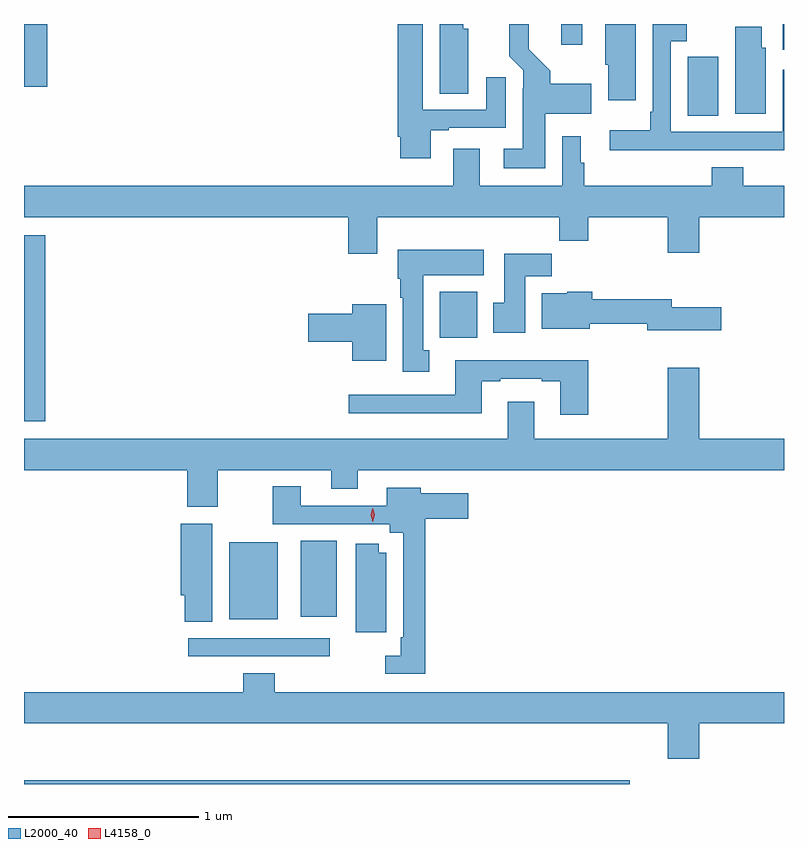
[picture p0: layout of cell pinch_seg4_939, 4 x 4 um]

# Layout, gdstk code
import gdstk
lib = gdstk.Library(unit=1e-6, precision=1e-09)
def R(c, l, rs):  # rectangles x0, y0, x1, y1
    for r in rs: c.add(gdstk.rectangle(r[:2], r[2:], *l))
def P(c, l, *ps):  # polygons
    for p in ps: c.add(gdstk.Polygon(p, *l))
L2000_40 = (2000, 40)
L4158_0 = (4158, 0)

pinch_seg4_939 = lib.new_cell('pinch_seg4_939')
R(pinch_seg4_939, L2000_40, [(737.043,787.176,740.23,787.195), (737.907,787.848,738.652,787.944), (738.122,788.042,738.379,788.449), (738.5,788.057,738.688,788.455), (737.043,789.086,737.156,790.065), (739.232,789.524,739.429,789.766), (740.537,790.693,740.698,791.004), (737.043,790.847,737.165,791.176), (741.036,791.04,741.043,791.176), (739.871,791.067,739.981,791.176)])
P(pinch_seg4_939, L2000_40, [(739.786,790.703),(740.029,790.703),(740.029,790.861),(739.812,790.861),(739.812,790.931),(739.699,791.044),(739.699,791.176),(739.597,791.176),(739.597,791.006),(739.671,790.932),(739.671,790.838),(739.667,790.838),(739.667,790.519),(739.569,790.519),(739.569,790.418),(739.786,790.418)],
  [(740.263,791.176),(740.102,791.176),(740.102,790.962),(740.117,790.962),(740.117,790.776),(740.263,790.776)],
  [(739.381,791.151),(739.354,791.151),(739.354,791.176),(739.232,791.176),(739.232,790.81),(739.381,790.81)],
  [(740.545,790.512),(740.911,790.512),(740.911,790.511),(741.043,790.511),(741.043,790.936),(741.036,790.936),(741.036,790.608),(740.448,790.608),(740.448,791.085),(740.53,791.085),(740.53,791.176),(740.352,791.176),(740.352,790.714),(740.34,790.714),(740.34,790.618),(740.127,790.618),(740.127,790.511),(740.545,790.511)],
  [(739.183,790.617),(739.279,790.617),(739.279,790.629),(739.579,790.629),(739.579,790.897),(739.475,790.897),(739.475,790.725),(739.141,790.725),(739.141,791.176),(739.01,791.176),(739.01,790.582),(739.022,790.582),(739.022,790.47),(739.183,790.47)],
  [(740.947,791.052),(740.926,791.052),(740.926,791.161),(740.786,791.161),(740.786,790.704),(740.947,790.704)],
  [(738.901,790.16),(739.861,790.16),(739.861,790.036),(740.013,790.036),(740.013,790.16),(740.432,790.16),(740.432,789.972),(740.596,789.972),(740.596,790.16),(741.043,790.16),(741.043,790.324),(740.828,790.324),(740.828,790.423),(740.663,790.423),(740.663,790.324),(739.991,790.324),(739.991,790.446),(739.972,790.446),(739.972,790.585),(739.875,790.585),(739.875,790.324),(739.441,790.324),(739.441,790.519),(739.301,790.519),(739.301,790.324),(737.043,790.324),(737.043,790.16),(738.749,790.16),(738.749,789.966),(738.901,789.966)],
  [(739.177,789.458),(739.144,789.458),(739.144,789.854),(739.462,789.854),(739.462,789.988),(739.01,789.988),(739.01,789.834),(739.022,789.834),(739.022,789.734),(739.037,789.734),(739.037,789.345),(739.177,789.345)],
  [(739.681,789.848),(739.82,789.848),(739.82,789.967),(739.571,789.967),(739.571,789.708),(739.514,789.708),(739.514,789.552),(739.681,789.552)],
  [(740.713,789.685),(740.452,789.685),(740.452,789.727),(740.033,789.727),(740.033,789.766),(739.902,789.766),(739.902,789.76),(739.769,789.76),(739.769,789.572),(740.02,789.572),(740.02,789.598),(740.324,789.598),(740.324,789.563),(740.713,789.563)],
  [(738.949,789.7),(738.77,789.7),(738.77,789.65),(738.54,789.65),(738.54,789.503),(738.77,789.503),(738.77,789.404),(738.949,789.404)],
  [(740.013,789.406),(739.313,789.406),(739.313,789.225),(738.753,789.225),(738.753,789.128),(739.453,789.128),(739.453,789.297),(739.549,789.297),(739.549,789.309),(739.769,789.309),(739.769,789.297),(739.865,789.297),(739.865,789.12),(740.013,789.12)],
  [(738.063,788.828),(738.659,788.828),(738.659,788.729),(738.799,788.729),(738.799,788.828),(741.043,788.828),(741.043,788.992),(740.596,788.992),(740.596,789.367),(740.432,789.367),(740.432,788.992),(739.729,788.992),(739.729,789.187),(739.589,789.187),(739.589,788.992),(737.043,788.992),(737.043,788.828),(737.903,788.828),(737.903,788.634),(738.063,788.634)],
  [(739.154,788.573),(739.381,788.573),(739.381,788.707),(739.131,788.707),(739.131,788.734),(738.953,788.734),(738.953,788.64),(738.499,788.64),(738.499,788.743),(738.352,788.743),(738.352,788.544),(738.968,788.544),(738.968,788.498),(739.038,788.498),(739.038,787.948),(739.026,787.948),(739.026,787.851),(738.945,787.851),(738.945,787.755),(739.154,787.755)],
  [(738.034,788.545),(737.867,788.545),(737.867,788.169),(737.888,788.169),(737.888,788.029),(738.034,788.029)],
  [(738.949,788.392),(738.91,788.392),(738.91,788.441),(738.788,788.441),(738.788,787.974),(738.949,787.974)],
  [(740.596,787.496),(741.043,787.496),(741.043,787.66),(738.362,787.66),(738.362,787.759),(738.197,787.759),(738.197,787.66),(737.043,787.66),(737.043,787.496),(740.432,787.496),(740.432,787.308),(740.596,787.308)])
P(pinch_seg4_939, L4158_0, [(738.878,788.556),(738.869,788.592),(738.878,788.628),(738.879,788.628),(738.879,788.628),(738.889,788.592),(738.879,788.556),(738.879,788.556)])

lib.write_gds('pinch_seg4_939.gds')
